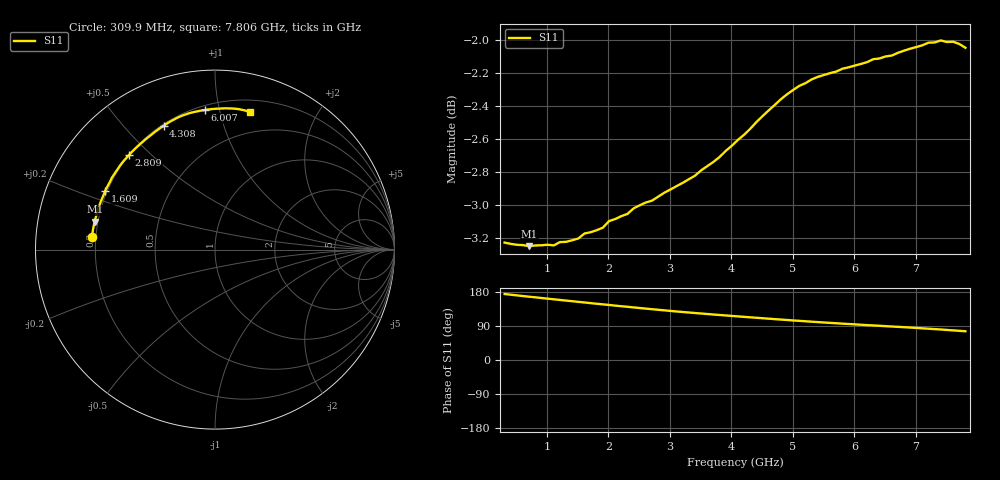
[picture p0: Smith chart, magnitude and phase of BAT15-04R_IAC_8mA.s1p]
! Infineon Technologies  Discrete & RF Semiconductors
! BAT15-04R
! IAC = 8 mA
! One-Port S-Parameters
# Hz  S  MA  R  50
!f  S11
!Hz  Mag  Ang
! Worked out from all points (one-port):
!   76 points, 309.9 MHz to 7.806 GHz, reference 50 ohm
!   lowest |S11| = -3.2 dB at 709.6 MHz (marker M1), VSWR 5.41, Z = 9.36 + j5.5 ohm
!   |S11| at or under -10 dB: nowhere
!   S11 on the Smith chart (normalised r, x): 309.9 MHz: 0.18, +0.05; 1.609 GHz: 0.19, +0.24; 2.809 GHz: 0.20, +0.43; 4.308 GHz: 0.21, +0.65; 6.007 GHz: 0.23, +0.91; 7.806 GHz: 0.30, +1.24
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3.0985e8  0.6897 174.1
6.097e8  0.6885 168.8
7.0965e8  0.688 167.0
1.0095e9  0.6886 161.9
1.30935e9  0.69 156.8
1.6092e9  0.6941 151.8
2.009e9  0.7001 145.2
2.2089e9  0.7025 141.9
2.30885e9  0.7036 140.4
2.50875e9  0.7078 137.1
2.8086e9  0.7121 132.5
3.0085e9  0.7157 129.5
3.2084e9  0.719 126.7
3.50825e9  0.7252 122.6
4.10795e9  0.7409 115.0
4.30785e9  0.7466 112.5
4.4078e9  0.7501 111.4
4.70765e9  0.7591 107.8
5.0075e9  0.7671 104.4
5.4073e9  0.774 100.0
5.8071e9  0.7784 95.9
6.007e9  0.7801 94.0
6.30685e9  0.7836 91.2
6.90655e9  0.7893 85.6
7.2064e9  0.7926 82.6
7.4063e9  0.7939 80.5
7.6062e9  0.7932 78.2
7.8061e9  0.7899 75.9
